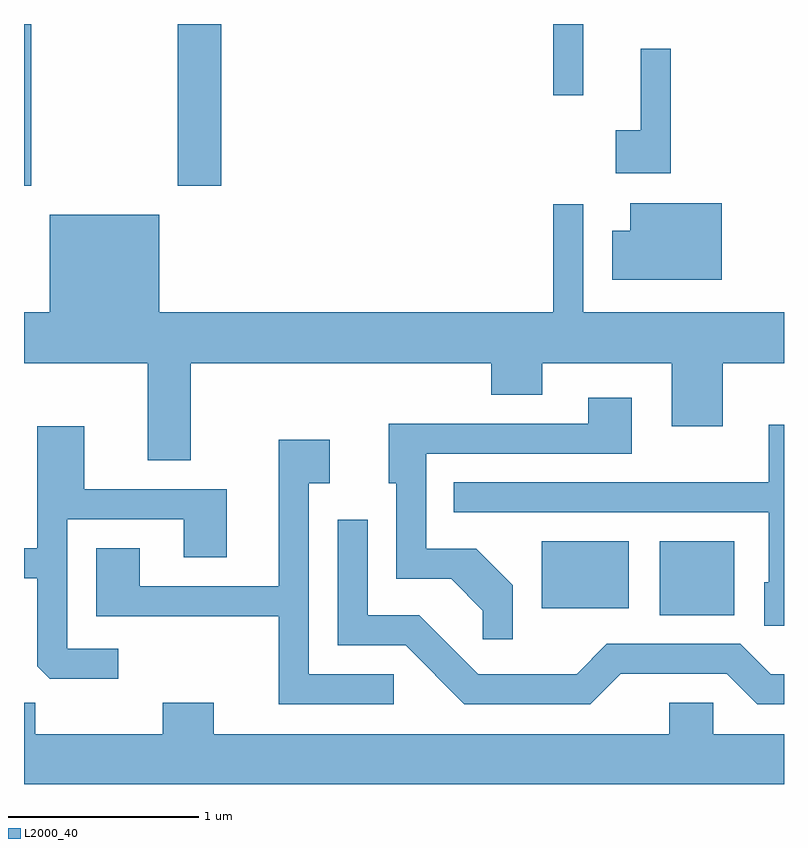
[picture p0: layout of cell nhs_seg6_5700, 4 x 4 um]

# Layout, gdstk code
import gdstk
lib = gdstk.Library(unit=1e-6, precision=1e-09)
def R(c, l, rs):  # rectangles x0, y0, x1, y1
    for r in rs: c.add(gdstk.rectangle(r[:2], r[2:], *l))
def P(c, l, *ps):  # polygons
    for p in ps: c.add(gdstk.Polygon(p, *l))
L2000_40 = (2000, 40)

nhs_seg6_5700 = lib.new_cell('nhs_seg6_5700')
R(nhs_seg6_5700, L2000_40, [(360.956,1653.051,361.349,1653.439), (360.336,1653.086,360.794,1653.439), (357.611,1655.311,357.649,1656.162), (358.421,1655.311,358.649,1656.162), (360.396,1655.788,360.554,1656.162)])
P(nhs_seg6_5700, L2000_40, [(361.014,1656.033),(360.856,1656.033),(360.856,1655.604),(360.726,1655.604),(360.726,1655.376),(361.014,1655.376)],
  [(361.284,1655.219),(360.801,1655.219),(360.801,1655.074),(360.706,1655.074),(360.706,1654.816),(361.284,1654.816)],
  [(358.489,1654.376),(360.071,1654.376),(360.071,1654.211),(360.339,1654.211),(360.339,1654.376),(361.021,1654.376),(361.021,1654.046),(361.289,1654.046),(361.289,1654.376),(361.611,1654.376),(361.611,1654.644),(360.554,1654.644),(360.554,1655.213),(360.396,1655.213),(360.396,1654.644),(358.324,1654.644),(358.324,1655.159),(357.746,1655.159),(357.746,1654.644),(357.611,1654.644),(357.611,1654.376),(358.261,1654.376),(358.261,1653.866),(358.489,1653.866)],
  [(360.184,1653.207),(359.992,1653.399),(359.729,1653.399),(359.729,1653.901),(360.809,1653.901),(360.809,1654.194),(360.581,1654.194),(360.581,1654.059),(359.531,1654.059),(359.531,1653.746),(359.571,1653.746),(359.571,1653.241),(359.859,1653.241),(360.026,1653.074),(360.026,1652.923),(360.184,1652.923)],
  [(361.611,1654.053),(361.531,1654.053),(361.531,1653.749),(359.873,1653.749),(359.873,1653.591),(361.531,1653.591),(361.531,1653.224),(361.506,1653.224),(361.506,1652.996),(361.611,1652.996)],
  [(358.108,1652.874),(357.839,1652.874),(357.839,1653.556),(358.451,1653.556),(358.451,1653.356),(358.679,1653.356),(358.679,1653.714),(357.929,1653.714),(357.929,1654.044),(357.681,1654.044),(357.681,1653.404),(357.611,1653.404),(357.611,1653.246),(357.681,1653.246),(357.681,1652.782),(357.747,1652.716),(358.108,1652.716)],
  [(359.558,1652.739),(359.109,1652.739),(359.109,1653.746),(359.219,1653.746),(359.219,1653.974),(358.951,1653.974),(358.951,1653.204),(358.219,1653.204),(358.219,1653.404),(357.991,1653.404),(357.991,1653.046),(358.951,1653.046),(358.951,1652.581),(359.558,1652.581)],
  [(360.752,1652.741),(361.309,1652.741),(361.469,1652.581),(361.611,1652.581),(361.611,1652.739),(361.542,1652.739),(361.382,1652.899),(360.679,1652.899),(360.519,1652.739),(360.002,1652.739),(359.692,1653.049),(359.419,1653.049),(359.419,1653.553),(359.261,1653.553),(359.261,1652.891),(359.619,1652.891),(359.929,1652.581),(360.592,1652.581)],
  [(361.611,1652.424),(361.239,1652.424),(361.239,1652.589),(361.006,1652.589),(361.006,1652.424),(358.609,1652.424),(358.609,1652.589),(358.341,1652.589),(358.341,1652.424),(357.669,1652.424),(357.669,1652.589),(357.611,1652.589),(357.611,1652.162),(361.611,1652.162)])

lib.write_gds('nhs_seg6_5700.gds')
